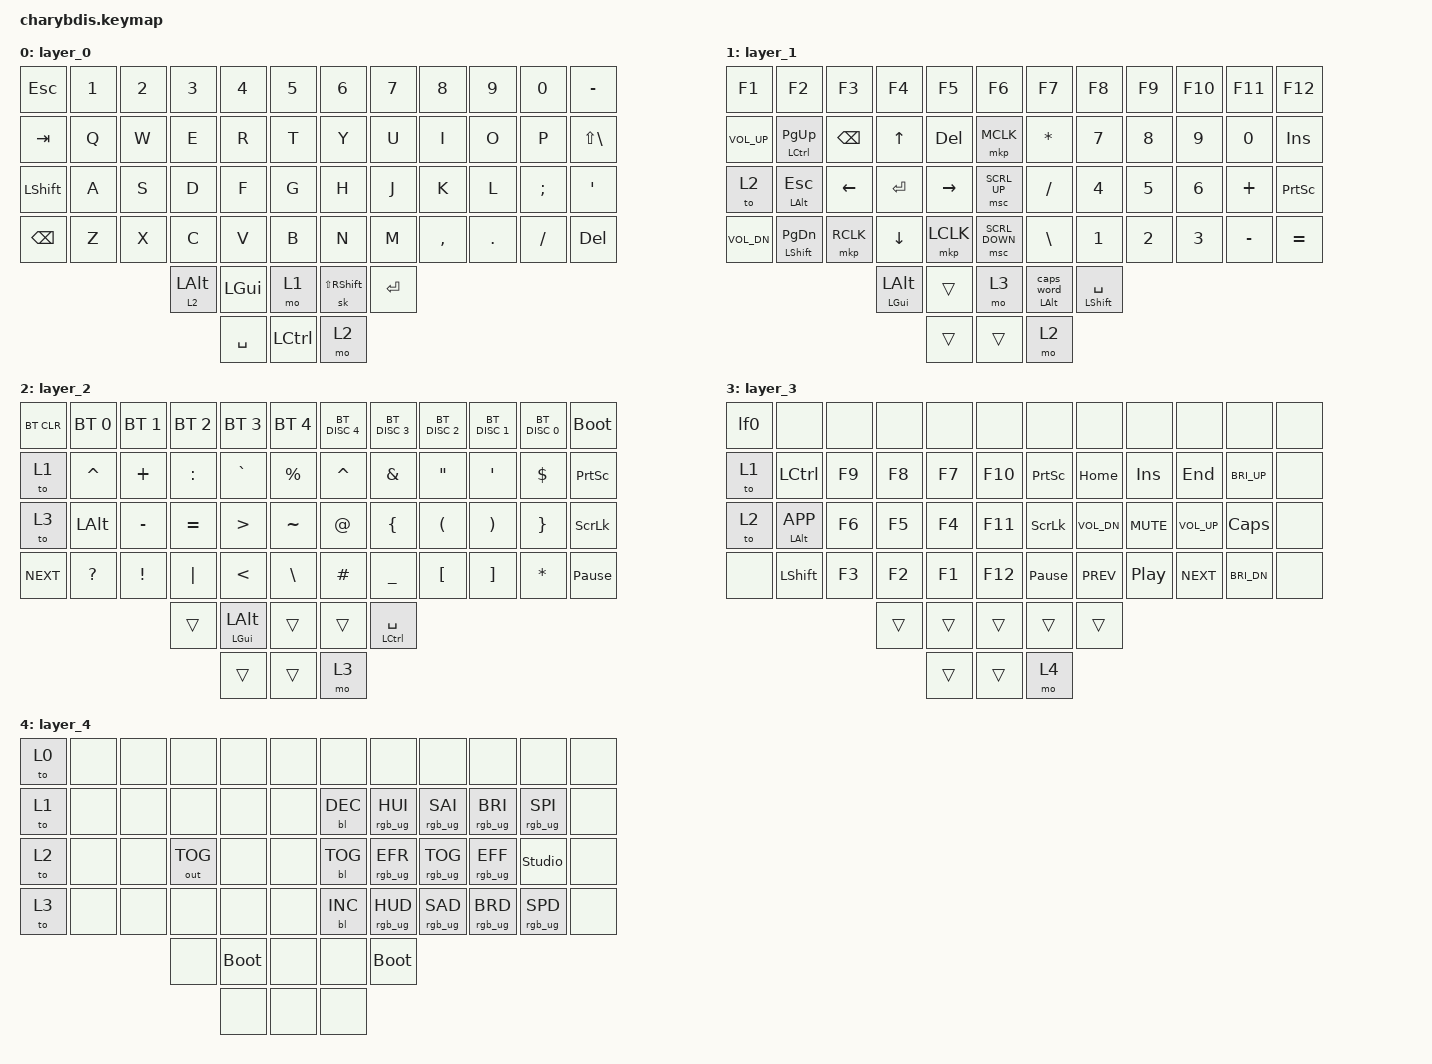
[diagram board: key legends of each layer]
#include <behaviors.dtsi>
#include <dt-bindings/zmk/backlight.h>
#include <dt-bindings/zmk/bt.h>
#include <dt-bindings/zmk/keys.h>
#include <dt-bindings/zmk/outputs.h>
#include <dt-bindings/zmk/pointing.h>
#include <dt-bindings/zmk/rgb.h>

&mt { quick-tap-ms = <200>; };

&lt {
    quick-tap-ms = <200>;
    flavor = "hold-preferred";
};

&sk {
    release-after-ms = <2000>;
    quick-release;
    lazy;
};

/ {
    macros {
        winpower: winpower {
            compatible = "zmk,behavior-macro";
            #binding-cells = <0>;
            wait-ms = <200>;
            bindings = <&kp LG(X) &kp U>;
        };

        lm1: lm1 {
            compatible = "zmk,behavior-macro-one-param";
            #binding-cells = <1>;
            wait-ms = <0>;
            tap-ms = <0>;
            bindings =
                <&macro_param_1to1>,
                <&macro_press>,
                <&kp MACRO_PLACEHOLDER>,
                <&macro_press>,
                <&mo 1>,
                <&macro_pause_for_release>,
                <&macro_param_1to1>,
                <&macro_release>,
                <&kp MACRO_PLACEHOLDER>,
                <&macro_release>,
                <&mo 1>;
        };

        lf0: lf0 {
            compatible = "zmk,behavior-macro";
            #binding-cells = <0>;
            bindings = <&macro_press>, <&to 0 &kp F20>;

            label = "LF0";
        };
    };

    behaviors {
        ms: kp_sk {
            compatible = "zmk,behavior-hold-tap";
            #binding-cells = <2>;
            flavor = "hold-preferred";
            tapping-term-ms = <200>;
            bindings = <&kp>, <&sk>;
        };

        mc: kp_cw {
            compatible = "zmk,behavior-hold-tap";
            #binding-cells = <2>;
            flavor = "hold-preferred";
            tapping-term-ms = <200>;
            bindings = <&kp>, <&caps_word>;
        };

        ls: mo_sk {
            compatible = "zmk,behavior-hold-tap";
            #binding-cells = <2>;
            flavor = "hold-preferred";
            tapping-term-ms = <200>;
            bindings = <&mo>, <&sk>;
        };

        lc: mo_cw {
            compatible = "zmk,behavior-hold-tap";
            #binding-cells = <2>;
            flavor = "hold-preferred";
            tapping-term-ms = <200>;
            bindings = <&mo>, <&caps_word>;
        };

        m1t: m1_kp {
            compatible = "zmk,behavior-hold-tap";
            #binding-cells = <2>;
            flavor = "hold-preferred";
            tapping-term-ms = <200>;
            bindings = <&lm1>, <&kp>;

            quick-tap-ms = <200>;
        };

        m1s: m1_sk {
            compatible = "zmk,behavior-hold-tap";
            #binding-cells = <2>;
            flavor = "hold-preferred";
            tapping-term-ms = <200>;
            bindings = <&lm1>, <&sk>;
        };

        opl: to_ly {
            compatible = "zmk,behavior-toggle-layer";
            label = "OPEN LAYER";
            #binding-cells = <1>;
        };
    };

    keymap {
        compatible = "zmk,keymap";

        // G

        layer_0 {
            bindings = <
&kp ESCAPE      &kp N1  &kp N2  &kp N3          &kp N4        &kp N5              &kp N6               &kp N7     &kp N8     &kp N9   &kp N0         &kp MINUS
&kp TAB         &kp Q   &kp W   &kp E           &kp R         &kp T               &kp Y                &kp U      &kp I      &kp O    &kp P          &kp LS(BACKSLASH)
&kp LEFT_SHIFT  &kp A   &kp S   &kp D           &kp F         &kp G               &kp H                &kp J      &kp K      &kp L    &kp SEMICOLON  &kp SQT
&kp BACKSPACE   &kp Z   &kp X   &kp C           &kp V         &kp B               &kp N                &kp M      &kp COMMA  &kp DOT  &kp FSLH       &kp DELETE
                                &ls 2 LEFT_ALT  &kp LEFT_GUI  &mo 1               &sk LS(RIGHT_SHIFT)  &kp ENTER
                                                &kp SPACE     &kp LEFT_CONTROL    &mo 2
            >;
        };

        // &ms LGUI LALT   &lt 1 SPACE     &ms LCTRL LSHFT &kp LALT        &ms LSHFT LSHFT // AB: 2 at 49-52, 3 at 49-51 or combo. hard mo2
        // &ms LGUI LALT   &lt 1 SPACE     &ms LCTRL LSHFT &kp LALT        &ls 2 LSHFT     // CD: 2 at 52, 3 at 49-52 or combo. no kp SHFT
        // &ms LGUI LALT   &lt 1 SPACE     &ms LCTRL LSHFT &ls 3 LALT      &ls 2 LSHFT     // E:  2 at 52, 3 at 51. no kp SHFT, no kp ALT
        // &ls 2 LGUI      &lt 1 SPACE     &ms LCTRL LSHFT &kp LALT        &ms LSHFT LSHFT // FG: 2 at 48, 3 at 48-49 or combo. no kp GUI

        layer_1 {
            bindings = <
&kp F1        &kp F2           &kp F3     &kp F4          &kp F5     &kp F6            &kp F7        &kp F8           &kp F9  &kp F10  &kp F11    &kp F12
&kp C_VOL_UP  &mt LCTRL PG_UP  &kp BSPC   &kp UP          &kp DEL    &mkp MCLK         &kp ASTERISK  &kp N7           &kp N8  &kp N9   &kp N0     &kp INSERT
&to 2         &mt LALT ESC     &kp LEFT   &kp ENTER       &kp RIGHT  &msc SCRL_UP      &kp SLASH     &kp N4           &kp N5  &kp N6   &kp PLUS   &kp PRINTSCREEN
&kp C_VOL_DN  &mt LSHFT PG_DN  &mkp RCLK  &kp DOWN        &mkp LCLK  &msc SCRL_DOWN    &kp BSLH      &kp N1           &kp N2  &kp N3   &kp MINUS  &kp EQUAL
                                          &m1s LGUI LALT  &trans     &mo 3             &mc LALT 0    &mt LSHFT SPACE
                                                          &trans     &trans            &mo 2
            >;
        };

        // &trans          &trans          &trans          &lc 3 0         &lt 2 SPACE     // A: 2 at 49-52, 3 at 49-51
        // &trans          &trans          &trans          &mc LALT 0      &lt 2 SPACE     // B: 2 at 49-52, 3 at combo
        // &trans          &trans          &trans          &mc LALT 0      &lt 3 SPACE     // C: 2 at 52, 3 at 49-52
        // &ls 3 LALT      &trans          &trans          &mc LALT 0      &mt LSHFT SPACE // F: 2 at 48, 3 at 48-49
        // &m1s LGUI LALT  &trans          &trans          &mc LALT 0      &mt LSHFT SPACE // G: 2 at 48, 3 at combo
        // &trans          &trans          &trans          &mc LALT 0      &mt LSHFT SPACE // DE

        layer_2 {
            bindings = <
&bt BT_CLR  &bt BT_SEL 0  &bt BT_SEL 1  &bt BT_SEL 2  &bt BT_SEL 3    &bt BT_SEL 4    &bt BT_DISC 4  &bt BT_DISC 3    &bt BT_DISC 2  &bt BT_DISC 1  &bt BT_DISC 0  &bootloader
&to 1       &kp CARET     &kp PLUS      &kp COLON     &kp GRAVE       &kp PRCNT       &kp CARET      &kp AMPS         &kp DQT        &kp SQT        &kp DLLR       &kp PSCRN
&to 3       &kp LALT      &kp MINUS     &kp EQUAL     &kp GT          &kp TILDE       &kp AT         &kp LBRC         &kp LPAR       &kp RPAR       &kp RBRC       &kp SLCK
&kp C_NEXT  &kp QMARK     &kp EXCL      &kp PIPE      &kp LT          &kp BSLH        &kp POUND      &kp UNDER        &kp LBKT       &kp RBKT       &kp ASTRK      &kp PAUSE_BREAK
                                        &trans        &m1s LGUI LALT  &trans          &trans         &mt LCTRL SPACE
                                                      &trans          &trans          &mo 3
            >;
        };

        // &trans          &trans          &trans          &trans          &trans          // ABD
        // &trans          &lt 3 SPACE     &trans          &trans          &trans          // C: 2 at 52, 3 at 49-52
        // &trans          &trans          &trans          &kp LS(LALT)    &trans          // E: 2 at 52, 3 at 51
        // &trans          &ls 3 LALT      &trans          &trans          &mt LCTRL SPACE // F: 2 at 48, 3 at 48-49
        // &trans          &m1s LGUI LALT  &trans          &trans          &mt LCTRL SPACE // G: 2 at 48, 3 at combo

        layer_3 {
            bindings = <
&lf0   &none           &none   &none   &none   &none      &none            &none         &none       &none         &none         &none
&to 1  &kp LCTRL       &kp F9  &kp F8  &kp F7  &kp F10    &kp PSCRN        &kp HOME      &kp INS     &kp END       &kp C_BRI_UP  &none
&to 2  &mt LALT K_APP  &kp F6  &kp F5  &kp F4  &kp F11    &kp SLCK         &kp C_VOL_DN  &kp C_MUTE  &kp C_VOL_UP  &kp CAPS      &none
&none  &kp LSHFT       &kp F3  &kp F2  &kp F1  &kp F12    &kp PAUSE_BREAK  &kp C_PREV    &kp C_PP    &kp C_NEXT    &kp C_BRI_DN  &none
                               &trans  &trans  &trans     &trans           &trans
                                       &trans  &trans     &mo 4
            >;
        };

        // &trans          &trans          &trans          &trans          &trans       // ABCDFG
        // &trans          &trans          &trans          &trans          &kp LS(LALT) // E: 2 at 52, 3 at 51

        layer_4 {
            bindings = <
&to 0  &none  &none  &none         &none        &none    &none       &none            &none            &none            &none            &none
&to 1  &none  &none  &none         &none        &none    &bl BL_DEC  &rgb_ug RGB_HUI  &rgb_ug RGB_SAI  &rgb_ug RGB_BRI  &rgb_ug RGB_SPI  &none
&to 2  &none  &none  &out OUT_TOG  &none        &none    &bl BL_TOG  &rgb_ug RGB_EFR  &rgb_ug RGB_TOG  &rgb_ug RGB_EFF  &studio_unlock   &none
&to 3  &none  &none  &none         &none        &none    &bl BL_INC  &rgb_ug RGB_HUD  &rgb_ug RGB_SAD  &rgb_ug RGB_BRD  &rgb_ug RGB_SPD  &none
                     &none         &bootloader  &none    &none       &bootloader
                                   &none        &none    &none
            >;
        };
    };

    combos {
        compatible = "zmk,combos";

        // both_finger_11_row_4 { timeout-ms = <50>; require-prior-idle-ms = <(-1)>; layers = <0>; key-positions = <49 52>; bindings = <&lt 2 LSHFT>; }; // AB
        // both_finger_10_row_4 { timeout-ms = <50>; require-prior-idle-ms = <(-1)>; layers = <0>; key-positions = <49 51>; bindings = <&lt 3 LALT>; };  // A
        // both_finger_11_row_4 { timeout-ms = <50>; require-prior-idle-ms = <(-1)>; layers = <0>; key-positions = <49 52>; bindings = <&lt 3 LSHFT>; }; // C
        // rght_finger_01_row_4 { timeout-ms = <50>; require-prior-idle-ms = <(-1)>; layers = <0>; key-positions = <51 52>; bindings = <&kp LS(LALT)>; }; // E
        // left_finger_12_row_4 { timeout-ms = <50>; require-prior-idle-ms = <(-1)>; layers = <0>; key-positions = <48 49>; bindings = <&ls 3 LALT>; }; // F
        // G
        // BDG

        left_finger_4_row_12 {
            timeout-ms = <50>;
            require-prior-idle-ms = <(-1)>;
            layers = <0>;
            key-positions = <13 25>;
            bindings = <&kp F9>;
        };

        left_finger_3_row_12 {
            timeout-ms = <50>;
            require-prior-idle-ms = <(-1)>;
            layers = <0>;
            key-positions = <14 26>;
            bindings = <&kp F6>;
        };

        left_finger_2_row_12 {
            timeout-ms = <50>;
            require-prior-idle-ms = <(-1)>;
            layers = <0>;
            key-positions = <15 27>;
            bindings = <&kp F5>;
        };

        left_finger_1_row_12 {
            timeout-ms = <50>;
            require-prior-idle-ms = <(-1)>;
            layers = <0>;
            key-positions = <16 28>;
            bindings = <&kp F4>;
        };

        left_finger_0_row_12 {
            timeout-ms = <50>;
            require-prior-idle-ms = <(-1)>;
            layers = <0>;
            key-positions = <17 29>;
            bindings = <&kp F7>;
        };

        left_finger_4_row_23 {
            timeout-ms = <50>;
            require-prior-idle-ms = <(-1)>;
            layers = <0>;
            key-positions = <25 37>;
            bindings = <&kp K_APP>;
        };

        left_finger_3_row_23 {
            timeout-ms = <50>;
            require-prior-idle-ms = <(-1)>;
            layers = <0>;
            key-positions = <26 38>;
            bindings = <&kp F3>;
        };

        left_finger_0_row_23 {
            timeout-ms = <50>;
            require-prior-idle-ms = <(-1)>;
            layers = <0>;
            key-positions = <29 41>;
            bindings = <&kp F8>;
        };

        // left_finger_34_row_1 { timeout-ms = <50>; require-prior-idle-ms = <180>; layers = <0>; key-positions = <13 14>; bindings = <&kp >; };
        // left_finger_23_row_1 { timeout-ms = <50>; require-prior-idle-ms = <180>; layers = <0>; key-positions = <14 15>; bindings = <&kp >; };
        // left_finger_12_row_1 { timeout-ms = <50>; require-prior-idle-ms = <180>; layers = <0>; key-positions = <15 16>; bindings = <&kp >; };

        left_finger_01_row_1 {
            timeout-ms = <50>;
            require-prior-idle-ms = <180>;
            layers = <0>;
            key-positions = <16 17>;
            bindings = <&kp F10>;
        };

        // left_finger_34_row_2 { timeout-ms = <50>; require-prior-idle-ms = <180>; layers = <0>; key-positions = <25 26>; bindings = <&kp >; };
        // left_finger_23_row_2 { timeout-ms = <50>; require-prior-idle-ms = <180>; layers = <0>; key-positions = <26 27>; bindings = <&kp >; };
        // left_finger_12_row_2 { timeout-ms = <50>; require-prior-idle-ms = <180>; layers = <0>; key-positions = <27 28>; bindings = <&kp >; };

        left_finger_01_row_2 {
            timeout-ms = <50>;
            require-prior-idle-ms = <180>;
            layers = <0>;
            key-positions = <28 29>;
            bindings = <&kp F11>;
        };

        // left_finger_34_row_3 { timeout-ms = <50>; require-prior-idle-ms = <180>; layers = <0>; key-positions = <37 38>; bindings = <&kp >; };
        // left_finger_23_row_3 { timeout-ms = <50>; require-prior-idle-ms = <180>; layers = <0>; key-positions = <38 39>; bindings = <&kp >; };
        // left_finger_12_row_3 { timeout-ms = <50>; require-prior-idle-ms = <180>; layers = <0>; key-positions = <39 40>; bindings = <&kp >; };

        left_finger_01_row_3 {
            timeout-ms = <50>;
            require-prior-idle-ms = <180>;
            layers = <0>;
            key-positions = <40 41>;
            bindings = <&kp F12>;
        };

        // left_finger_01_row_12 { timeout-ms = <50>; require-prior-idle-ms = <(-1)>; layers = <0>; key-positions = <16 17 28 29>; bindings = <&kp >; };
        // left_finger_01_row_23 { timeout-ms = <50>; require-prior-idle-ms = <(-1)>; layers = <0>; key-positions = <28 29 40 41>; bindings = <&kp >; };

        rght_finger_0_row_23 {
            timeout-ms = <50>;
            require-prior-idle-ms = <(-1)>;
            layers = <0>;
            key-positions = <30 42>;
            bindings = <&kp INS>;
        };

        rght_finger_1_row_23 {
            timeout-ms = <50>;
            require-prior-idle-ms = <(-1)>;
            layers = <0>;
            key-positions = <31 43>;
            bindings = <&kp C_PREV>;
        };

        rght_finger_2_row_23 {
            timeout-ms = <50>;
            require-prior-idle-ms = <(-1)>;
            layers = <0>;
            key-positions = <32 44>;
            bindings = <&kp C_PP>;
        };

        rght_finger_3_row_23 {
            timeout-ms = <50>;
            require-prior-idle-ms = <(-1)>;
            layers = <0>;
            key-positions = <33 45>;
            bindings = <&kp C_NEXT>;
        };

        rght_finger_01_row_1 {
            timeout-ms = <50>;
            require-prior-idle-ms = <180>;
            layers = <0>;
            key-positions = <18 19>;
            bindings = <&kp PSCRN>;
        };

        // rght_finger_12_row_1 { timeout-ms = <50>; require-prior-idle-ms = <180>; layers = <0>; key-positions = <19 20>; bindings = <&kp >; };
        // rght_finger_23_row_1 { timeout-ms = <50>; require-prior-idle-ms = <180>; layers = <0>; key-positions = <20 21>; bindings = <&kp >; };
        // rght_finger_34_row_1 { timeout-ms = <50>; require-prior-idle-ms = <180>; layers = <0>; key-positions = <21 22>; bindings = <&kp >; };

        rght_finger_01_row_2 {
            timeout-ms = <50>;
            require-prior-idle-ms = <180>;
            layers = <0>;
            key-positions = <30 31>;
            bindings = <&kp SLCK>;
        };

        // rght_finger_12_row_2 { timeout-ms = <50>; require-prior-idle-ms = <180>; layers = <0>; key-positions = <31 32>; bindings = <&kp >; };
        // rght_finger_23_row_2 { timeout-ms = <50>; require-prior-idle-ms = <180>; layers = <0>; key-positions = <32 33>; bindings = <&kp >; };
        // rght_finger_34_row_2 { timeout-ms = <50>; require-prior-idle-ms = <180>; layers = <0>; key-positions = <33 34>; bindings = <&kp >; };

        rght_finger_01_row_3 {
            timeout-ms = <50>;
            require-prior-idle-ms = <180>;
            layers = <0>;
            key-positions = <42 43>;
            bindings = <&kp PAUSE_BREAK>;
        };

        // rght_finger_12_row_3 { timeout-ms = <50>; require-prior-idle-ms = <180>; layers = <0>; key-positions = <43 44>; bindings = <&kp >; };
        // rght_finger_23_row_3 { timeout-ms = <50>; require-prior-idle-ms = <180>; layers = <0>; key-positions = <44 45>; bindings = <&kp >; };
        // rght_finger_34_row_3 { timeout-ms = <50>; require-prior-idle-ms = <180>; layers = <0>; key-positions = <45 46>; bindings = <&kp >; };

        com_caps_words {
            bindings = <&kp CLCK>;
            key-positions = <24 12>;
            layers = <0>;
        };

        com_l_bracket {
            bindings = <&kp LEFT_BRACKET>;
            key-positions = <10 22>;
            layers = <0>;
        };

        com_r_bracket {
            bindings = <&kp RIGHT_BRACKET>;
            key-positions = <11 23>;
            layers = <0>;
        };

        com_key_grave {
            bindings = <&kp GRAVE>;
            key-positions = <0 1>;
            layers = <0>;
        };

        com_key_home {
            bindings = <&kp HOME>;
            key-positions = <18 30>;
            layers = <0>;
        };

        com_key_pageup {
            bindings = <&kp PAGE_UP>;
            key-positions = <19 31>;
            layers = <0>;
        };

        com_key_scroll {
            bindings = <&mkp MB3>;
            key-positions = <20 32>;
            layers = <0>;
        };

        com_key_end {
            bindings = <&kp END>;
            key-positions = <22 34>;
            layers = <0>;
        };

        com_key_pagedown {
            bindings = <&kp PAGE_DOWN>;
            key-positions = <21 33>;
            layers = <0>;
        };

        mouse_l_click {
            bindings = <&mkp LCLK>;
            key-positions = <27 39>;
            layers = <0>;
        };

        mouse_r_click {
            bindings = <&mkp RCLK>;
            key-positions = <28 40>;
            layers = <0>;
        };
    };
};
